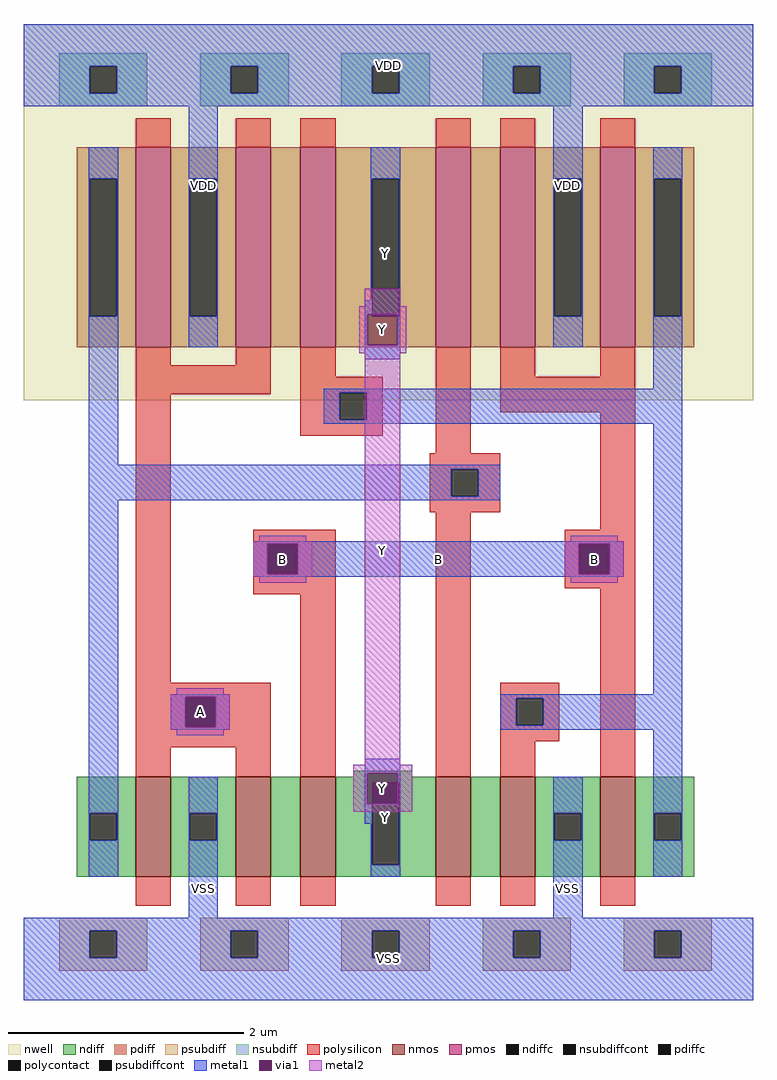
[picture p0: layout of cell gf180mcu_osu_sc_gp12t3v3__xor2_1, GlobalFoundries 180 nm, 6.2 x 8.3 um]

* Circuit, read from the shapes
.subckt gf180mcu_osu_sc_gp12t3v3__xor2_1 A B Y VDD VSS
XM1 VSS A n1 VSS nfet_03v3 w=0.85u l=0.3u
XM2 n2 A VSS VSS nfet_03v3 w=0.85u l=0.3u
XM3 Y B n2 VSS nfet_03v3 w=0.85u l=0.3u
XM4 n3 n1 Y VSS nfet_03v3 w=0.85u l=0.3u
XM5 VSS n4 n3 VSS nfet_03v3 w=0.85u l=0.3u
XM6 n4 B VSS VSS nfet_03v3 w=0.85u l=0.3u
XM7 VDD A n1 VDD pfet_03v3 w=1.7u l=0.3u
XM8 n5 A VDD VDD pfet_03v3 w=1.7u l=0.3u
XM9 Y n4 n5 VDD pfet_03v3 w=1.7u l=0.3u
XM10 n6 n1 Y VDD pfet_03v3 w=1.7u l=0.3u
XM11 VDD B n6 VDD pfet_03v3 w=1.7u l=0.3u
XM12 n4 B VDD VDD pfet_03v3 w=1.7u l=0.3u
.ends

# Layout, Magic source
magic
tech gf180mcuA
magscale 1 10
<< nwell >>
rect 0 1020 1240 1660
<< nmos >>
rect 190 210 250 380
rect 360 210 420 380
rect 470 210 530 380
rect 700 210 760 380
rect 810 210 870 380
rect 980 210 1040 380
<< pmos >>
rect 190 1110 250 1450
rect 360 1110 420 1450
rect 470 1110 530 1450
rect 700 1110 760 1450
rect 810 1110 870 1450
rect 980 1110 1040 1450
<< ndiff >>
rect 560 380 660 390
rect 90 318 190 380
rect 90 272 112 318
rect 158 272 190 318
rect 90 210 190 272
rect 250 318 360 380
rect 250 272 282 318
rect 328 272 360 318
rect 250 210 360 272
rect 420 210 470 380
rect 530 370 700 380
rect 530 230 592 370
rect 638 230 700 370
rect 530 210 700 230
rect 760 210 810 380
rect 870 318 980 380
rect 870 272 902 318
rect 948 272 980 318
rect 870 210 980 272
rect 1040 318 1140 380
rect 1040 272 1072 318
rect 1118 272 1140 318
rect 1040 210 1140 272
<< pdiff >>
rect 90 1397 190 1450
rect 90 1163 112 1397
rect 158 1163 190 1397
rect 90 1110 190 1163
rect 250 1397 360 1450
rect 250 1163 282 1397
rect 328 1163 360 1397
rect 250 1110 360 1163
rect 420 1110 470 1450
rect 530 1397 700 1450
rect 530 1163 592 1397
rect 638 1163 700 1397
rect 530 1110 700 1163
rect 760 1110 810 1450
rect 870 1397 980 1450
rect 870 1163 902 1397
rect 948 1163 980 1397
rect 870 1110 980 1163
rect 1040 1397 1140 1450
rect 1040 1163 1072 1397
rect 1118 1163 1140 1397
rect 1040 1110 1140 1163
<< ndiffc >>
rect 112 272 158 318
rect 282 272 328 318
rect 592 230 638 370
rect 902 272 948 318
rect 1072 272 1118 318
<< pdiffc >>
rect 112 1163 158 1397
rect 282 1163 328 1397
rect 592 1163 638 1397
rect 902 1163 948 1397
rect 1072 1163 1118 1397
<< psubdiff >>
rect 60 118 210 140
rect 60 72 112 118
rect 158 72 210 118
rect 60 50 210 72
rect 300 118 450 140
rect 300 72 352 118
rect 398 72 450 118
rect 300 50 450 72
rect 540 118 690 140
rect 540 72 592 118
rect 638 72 690 118
rect 540 50 690 72
rect 780 118 930 140
rect 780 72 832 118
rect 878 72 930 118
rect 780 50 930 72
rect 1020 118 1170 140
rect 1020 72 1072 118
rect 1118 72 1170 118
rect 1020 50 1170 72
<< nsubdiff >>
rect 60 1588 210 1610
rect 60 1542 112 1588
rect 158 1542 210 1588
rect 60 1520 210 1542
rect 300 1588 450 1610
rect 300 1542 352 1588
rect 398 1542 450 1588
rect 300 1520 450 1542
rect 540 1588 690 1610
rect 540 1542 592 1588
rect 638 1542 690 1588
rect 540 1520 690 1542
rect 780 1588 930 1610
rect 780 1542 832 1588
rect 878 1542 930 1588
rect 780 1520 930 1542
rect 1020 1588 1170 1610
rect 1020 1542 1072 1588
rect 1118 1542 1170 1588
rect 1020 1520 1170 1542
<< psubdiffcont >>
rect 112 72 158 118
rect 352 72 398 118
rect 592 72 638 118
rect 832 72 878 118
rect 1072 72 1118 118
<< nsubdiffcont >>
rect 112 1542 158 1588
rect 352 1542 398 1588
rect 592 1542 638 1588
rect 832 1542 878 1588
rect 1072 1542 1118 1588
<< polysilicon >>
rect 190 1450 250 1500
rect 360 1450 420 1500
rect 470 1450 530 1500
rect 700 1450 760 1500
rect 810 1450 870 1500
rect 980 1450 1040 1500
rect 190 1080 250 1110
rect 360 1080 420 1110
rect 190 1030 420 1080
rect 470 1060 530 1110
rect 470 1033 610 1060
rect 190 540 250 1030
rect 470 987 537 1033
rect 583 987 610 1033
rect 470 960 610 987
rect 700 930 760 1110
rect 810 1060 870 1110
rect 980 1060 1040 1110
rect 810 1000 1040 1060
rect 690 903 810 930
rect 690 857 727 903
rect 773 857 810 903
rect 690 830 810 857
rect 390 773 530 800
rect 390 727 417 773
rect 463 727 530 773
rect 390 690 530 727
rect 190 513 420 540
rect 190 467 277 513
rect 323 467 420 513
rect 190 430 420 467
rect 190 380 250 430
rect 360 380 420 430
rect 470 380 530 690
rect 700 380 760 830
rect 980 800 1040 1000
rect 920 773 1040 800
rect 920 727 947 773
rect 993 727 1040 773
rect 920 700 1040 727
rect 810 513 910 540
rect 810 467 837 513
rect 883 467 910 513
rect 810 440 910 467
rect 810 380 870 440
rect 980 380 1040 700
rect 190 160 250 210
rect 360 160 420 210
rect 470 160 530 210
rect 700 160 760 210
rect 810 160 870 210
rect 980 160 1040 210
<< polycontact >>
rect 537 987 583 1033
rect 727 857 773 903
rect 417 727 463 773
rect 277 467 323 513
rect 947 727 993 773
rect 837 467 883 513
<< metal1 >>
rect 0 1588 1240 1660
rect 0 1542 112 1588
rect 158 1542 352 1588
rect 398 1542 592 1588
rect 638 1542 832 1588
rect 878 1542 1072 1588
rect 1118 1542 1240 1588
rect 0 1520 1240 1542
rect 110 1397 160 1450
rect 110 1163 112 1397
rect 158 1163 160 1397
rect 110 910 160 1163
rect 280 1397 330 1520
rect 280 1163 282 1397
rect 328 1163 330 1397
rect 590 1397 640 1450
rect 590 1190 592 1397
rect 280 1110 330 1163
rect 580 1166 592 1190
rect 580 1114 584 1166
rect 638 1163 640 1397
rect 636 1114 640 1163
rect 580 1090 640 1114
rect 900 1397 950 1520
rect 900 1163 902 1397
rect 948 1163 950 1397
rect 900 1110 950 1163
rect 1070 1397 1120 1450
rect 1070 1163 1072 1397
rect 1118 1163 1120 1397
rect 1070 1040 1120 1163
rect 510 1033 1120 1040
rect 510 987 537 1033
rect 583 987 1120 1033
rect 510 980 1120 987
rect 110 903 810 910
rect 110 857 727 903
rect 773 857 810 903
rect 110 850 810 857
rect 110 318 160 850
rect 390 776 1020 780
rect 390 724 414 776
rect 466 724 944 776
rect 996 724 1020 776
rect 390 720 1020 724
rect 1070 520 1120 980
rect 250 516 350 520
rect 250 464 274 516
rect 326 464 350 516
rect 250 460 350 464
rect 810 513 1120 520
rect 810 467 837 513
rect 883 467 1120 513
rect 810 460 1120 467
rect 580 386 640 410
rect 110 272 112 318
rect 158 272 160 318
rect 110 210 160 272
rect 280 318 330 380
rect 280 272 282 318
rect 328 272 330 318
rect 580 334 584 386
rect 636 370 640 386
rect 580 300 592 334
rect 280 140 330 272
rect 590 230 592 300
rect 638 230 640 370
rect 590 210 640 230
rect 900 318 950 380
rect 900 272 902 318
rect 948 272 950 318
rect 900 140 950 272
rect 1070 318 1120 460
rect 1070 272 1072 318
rect 1118 272 1120 318
rect 1070 210 1120 272
rect 0 118 1240 140
rect 0 72 112 118
rect 158 72 352 118
rect 398 72 592 118
rect 638 72 832 118
rect 878 72 1072 118
rect 1118 72 1240 118
rect 0 0 1240 72
<< via1 >>
rect 584 1163 592 1166
rect 592 1163 636 1166
rect 584 1114 636 1163
rect 414 773 466 776
rect 414 727 417 773
rect 417 727 463 773
rect 463 727 466 773
rect 414 724 466 727
rect 944 773 996 776
rect 944 727 947 773
rect 947 727 993 773
rect 993 727 996 773
rect 944 724 996 727
rect 274 513 326 516
rect 274 467 277 513
rect 277 467 323 513
rect 323 467 326 513
rect 274 464 326 467
rect 584 370 636 386
rect 584 334 592 370
rect 592 334 636 370
<< metal2 >>
rect 580 1180 640 1210
rect 570 1166 650 1180
rect 570 1114 584 1166
rect 636 1114 650 1166
rect 570 1100 650 1114
rect 400 780 480 790
rect 390 776 490 780
rect 390 724 414 776
rect 466 724 490 776
rect 390 720 490 724
rect 400 710 480 720
rect 260 520 340 530
rect 250 516 350 520
rect 250 464 274 516
rect 326 464 350 516
rect 250 460 350 464
rect 260 450 340 460
rect 580 400 640 1100
rect 930 780 1010 790
rect 920 776 1020 780
rect 920 724 944 776
rect 996 724 1020 776
rect 920 720 1020 724
rect 930 710 1010 720
rect 560 386 660 400
rect 560 334 584 386
rect 636 334 660 386
rect 560 320 660 334
<< labels >>
rlabel via1 s 274 464 326 516 4 A
port 1 nsew signal input
rlabel via1 s 944 724 996 776 4 B
port 2 nsew signal input
rlabel via1 s 584 334 636 386 4 Y
port 3 nsew signal output
rlabel metal1 s 280 1110 330 1660 4 VDD
port 4 nsew power bidirectional abutment
rlabel metal1 s 280 0 330 380 4 VSS
port 5 nsew ground bidirectional abutment
rlabel metal1 s 900 1110 950 1660 1 VDD
port 4 nsew power bidirectional abutment
rlabel metal1 s 0 1520 1240 1660 1 VDD
port 4 nsew power bidirectional abutment
rlabel metal1 s 900 0 950 380 1 VSS
port 5 nsew ground bidirectional abutment
rlabel metal1 s 0 0 1240 140 1 VSS
port 5 nsew ground bidirectional abutment
rlabel metal2 s 260 450 340 530 1 A
port 1 nsew signal input
rlabel metal2 s 250 460 350 520 1 A
port 1 nsew signal input
rlabel metal1 s 250 460 350 520 1 A
port 1 nsew signal input
rlabel via1 s 414 724 466 776 1 B
port 2 nsew signal input
rlabel metal2 s 400 710 480 790 1 B
port 2 nsew signal input
rlabel metal2 s 390 720 490 780 1 B
port 2 nsew signal input
rlabel metal2 s 930 710 1010 790 1 B
port 2 nsew signal input
rlabel metal2 s 920 720 1020 780 1 B
port 2 nsew signal input
rlabel metal1 s 390 720 1020 780 1 B
port 2 nsew signal input
rlabel via1 s 584 1114 636 1166 1 Y
port 3 nsew signal output
rlabel metal2 s 580 320 640 1210 1 Y
port 3 nsew signal output
rlabel metal2 s 570 1100 650 1180 1 Y
port 3 nsew signal output
rlabel metal2 s 560 320 660 400 1 Y
port 3 nsew signal output
rlabel metal1 s 580 1090 640 1190 1 Y
port 3 nsew signal output
rlabel metal1 s 590 1090 640 1450 1 Y
port 3 nsew signal output
rlabel metal1 s 590 210 640 410 1 Y
port 3 nsew signal output
rlabel metal1 s 580 300 640 410 1 Y
port 3 nsew signal output
<< properties >>
string FIXED_BBOX 0 0 1240 1660
string GDS_END 532808
string GDS_FILE $PDKPATH/libs.ref/gf180mcu_osu_sc_gp12t3v3/gds/gf180mcu_osu_sc_gp12t3v3.gds
string GDS_START 524482
string LEFclass CORE
string LEFsite gf180mcu_osu_sc_gp12t3v3
string LEFsymmetry X Y
<< end >>
